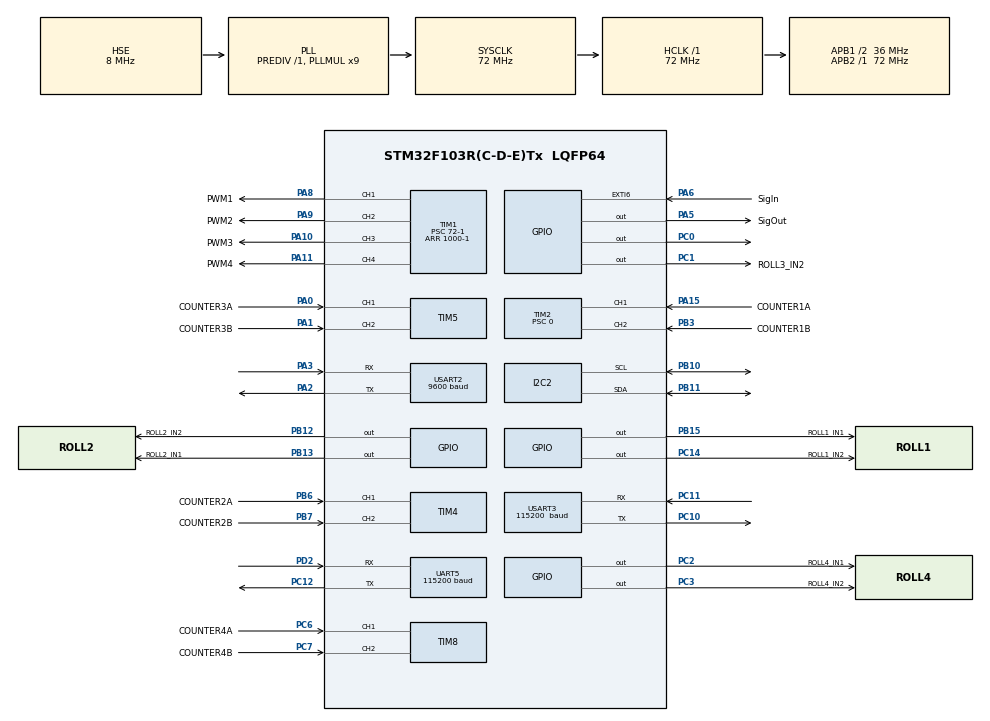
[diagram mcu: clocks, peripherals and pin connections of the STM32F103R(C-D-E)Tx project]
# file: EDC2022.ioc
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Dma.Request0=USART3_RX
Dma.Request1=USART3_TX
Dma.USART3_RX.0.Direction=DMA_PERIPH_TO_MEMORY
Dma.USART3_RX.0.Instance=DMA1_Channel3
Dma.USART3_RX.0.MemDataAlignment=DMA_MDATAALIGN_BYTE
Dma.USART3_RX.0.MemInc=DMA_MINC_ENABLE
Dma.USART3_RX.0.Mode=DMA_CIRCULAR
Dma.USART3_RX.0.PeriphDataAlignment=DMA_PDATAALIGN_BYTE
Dma.USART3_RX.0.PeriphInc=DMA_PINC_DISABLE
Dma.USART3_RX.0.Priority=DMA_PRIORITY_HIGH
Dma.USART3_TX.1.Direction=DMA_MEMORY_TO_PERIPH
Dma.USART3_TX.1.Instance=DMA1_Channel2
Dma.USART3_TX.1.MemDataAlignment=DMA_MDATAALIGN_BYTE
Dma.USART3_TX.1.MemInc=DMA_MINC_ENABLE
Dma.USART3_TX.1.Mode=DMA_NORMAL
Dma.USART3_TX.1.PeriphDataAlignment=DMA_PDATAALIGN_BYTE
Dma.USART3_TX.1.PeriphInc=DMA_PINC_DISABLE
Dma.USART3_TX.1.Priority=DMA_PRIORITY_HIGH
I2C2.I2C_Mode=I2C_Fast
Mcu.Family=STM32F1
Mcu.Name=STM32F103R(C-D-E)Tx
Mcu.Package=LQFP64
NVIC.DMA1_Channel2_IRQn=true\:0\:0\:false\:false\:true\:false\:true
NVIC.DMA1_Channel3_IRQn=true\:0\:0\:false\:false\:true\:false\:true
NVIC.EXTI9_5_IRQn=true\:0\:0\:false\:false\:true\:true\:true
NVIC.PriorityGroup=NVIC_PRIORITYGROUP_4
NVIC.TIM6_IRQn=true\:2\:0\:true\:false\:true\:true\:true
NVIC.UART5_IRQn=true\:0\:0\:false\:false\:true\:true\:true
NVIC.USART2_IRQn=true\:1\:0\:true\:false\:true\:true\:true
NVIC.USART3_IRQn=true\:0\:0\:false\:false\:true\:true\:true
PA0-WKUP.GPIO_Label=COUNTER3A
PA0-WKUP.Signal=S_TIM5_CH1
PA1.GPIO_Label=COUNTER3B
PA1.Signal=S_TIM5_CH2
PA10.GPIO_Label=PWM3
PA10.Signal=S_TIM1_CH3
PA11.GPIO_Label=PWM4
PA11.Signal=S_TIM1_CH4
PA13.Mode=Serial_Wire
PA13.Signal=SYS_JTMS-SWDIO
PA14.Mode=Serial_Wire
PA14.Signal=SYS_JTCK-SWCLK
PA15.GPIO_Label=COUNTER1A
PA15.Signal=S_TIM2_CH1_ETR
PA2.Mode=Asynchronous
PA2.Signal=USART2_TX
PA3.Mode=Asynchronous
PA3.Signal=USART2_RX
PA5.GPIO_Label=SigOut
PA5.GPIO_ModeDefaultOutputPP=GPIO_MODE_OUTPUT_OD
PA5.GPIO_PuPd=GPIO_PULLUP
PA5.PinState=GPIO_PIN_SET
PA5.Signal=GPIO_Output
PA6.GPIO_Label=SigIn
PA6.GPIO_ModeDefaultEXTI=GPIO_MODE_IT_FALLING
PA6.GPIO_PuPd=GPIO_PULLUP
PA6.Signal=GPXTI6
PA8.GPIO_Label=PWM1
PA8.Signal=S_TIM1_CH1
PA9.GPIO_Label=PWM2
PA9.Signal=S_TIM1_CH2
PB10.Mode=I2C
PB10.Signal=I2C2_SCL
PB11.Mode=I2C
PB11.Signal=I2C2_SDA
PB12.GPIO_Label=ROLL2_IN2
PB12.Signal=GPIO_Output
PB13.GPIO_Label=ROLL2_IN1
PB13.Signal=GPIO_Output
PB15.GPIO_Label=ROLL1_IN1
PB15.Signal=GPIO_Output
PB3.GPIO_Label=COUNTER1B
PB3.Signal=S_TIM2_CH2
PB6.GPIO_Label=COUNTER2A
PB6.Signal=S_TIM4_CH1
PB7.GPIO_Label=COUNTER2B
PB7.Signal=S_TIM4_CH2
PC0.Signal=GPIO_Output
PC1.GPIO_Label=ROLL3_IN2
PC1.Signal=GPIO_Output
PC10.Mode=Asynchronous
PC10.Signal=USART3_TX
PC11.Mode=Asynchronous
PC11.Signal=USART3_RX
PC12.Mode=Asynchronous
PC12.Signal=UART5_TX
PC14-OSC32_IN.GPIO_Label=ROLL1_IN2
PC14-OSC32_IN.Signal=GPIO_Output
PC2.GPIO_Label=ROLL4_IN1
PC2.Signal=GPIO_Output
PC3.GPIO_Label=ROLL4_IN2
PC3.Signal=GPIO_Output
PC6.GPIO_Label=COUNTER4A
PC6.Signal=S_TIM8_CH1
PC7.GPIO_Label=COUNTER4B
PC7.Signal=S_TIM8_CH2
PD0-OSC_IN.Mode=HSE-External-Oscillator
PD0-OSC_IN.Signal=RCC_OSC_IN
PD1-OSC_OUT.Mode=HSE-External-Oscillator
PD1-OSC_OUT.Signal=RCC_OSC_OUT
PD2.Mode=Asynchronous
PD2.Signal=UART5_RX
ProjectManager.HeapSize=0x200
ProjectManager.StackSize=0x400
ProjectManager.TargetToolchain=Makefile
RCC.AHBFreq_Value=72000000
RCC.APB1CLKDivider=RCC_HCLK_DIV2
RCC.APB1Freq_Value=36000000
RCC.APB1TimFreq_Value=72000000
RCC.APB2Freq_Value=72000000
RCC.APB2TimFreq_Value=72000000
RCC.HCLKFreq_Value=72000000
RCC.PLLMUL=RCC_PLL_MUL9
RCC.PLLSourceVirtual=RCC_PLLSOURCE_HSE
RCC.SYSCLKFreq_VALUE=72000000
RCC.SYSCLKSource=RCC_SYSCLKSOURCE_PLLCLK
RCC.USBFreq_Value=72000000
SH.S_TIM1_CH1.0=TIM1_CH1,PWM Generation1 CH1
SH.S_TIM1_CH2.0=TIM1_CH2,PWM Generation2 CH2
SH.S_TIM1_CH3.0=TIM1_CH3,PWM Generation3 CH3
SH.S_TIM1_CH4.0=TIM1_CH4,PWM Generation4 CH4
SH.S_TIM2_CH1_ETR.0=TIM2_CH1,Encoder_Interface
SH.S_TIM2_CH2.0=TIM2_CH2,Encoder_Interface
SH.S_TIM4_CH1.0=TIM4_CH1,Encoder_Interface
SH.S_TIM4_CH2.0=TIM4_CH2,Encoder_Interface
SH.S_TIM5_CH1.0=TIM5_CH1,Encoder_Interface
SH.S_TIM5_CH2.0=TIM5_CH2,Encoder_Interface
SH.S_TIM8_CH1.0=TIM8_CH1,Encoder_Interface
SH.S_TIM8_CH2.0=TIM8_CH2,Encoder_Interface
TIM1.Channel-PWM\ Generation1\ CH1=TIM_CHANNEL_1
TIM1.Channel-PWM\ Generation2\ CH2=TIM_CHANNEL_2
TIM1.Channel-PWM\ Generation3\ CH3=TIM_CHANNEL_3
TIM1.Channel-PWM\ Generation4\ CH4=TIM_CHANNEL_4
TIM1.OCFastMode_PWM-PWM\ Generation1\ CH1=TIM_OCFAST_ENABLE
TIM1.OCFastMode_PWM-PWM\ Generation2\ CH2=TIM_OCFAST_ENABLE
TIM1.OCFastMode_PWM-PWM\ Generation3\ CH3=TIM_OCFAST_ENABLE
TIM1.OCFastMode_PWM-PWM\ Generation4\ CH4=TIM_OCFAST_ENABLE
TIM1.Period=1000-1
TIM1.Prescaler=72-1
TIM2.EncoderMode=TIM_ENCODERMODE_TI12
TIM2.Period=65535
TIM2.Prescaler=0
TIM4.EncoderMode=TIM_ENCODERMODE_TI12
TIM5.EncoderMode=TIM_ENCODERMODE_TI12
TIM6.Period=50000-1
TIM6.Prescaler=72-1
TIM8.EncoderMode=TIM_ENCODERMODE_TI12
UART5.BaudRate=115200
UART5.VirtualMode=Asynchronous
USART2.BaudRate=9600
USART2.VirtualMode=VM_ASYNC
USART3.BaudRate=115200 
USART3.VirtualMode=VM_ASYNC
VP_TIM1_VS_ClockSourceINT.Mode=Internal
VP_TIM6_VS_ClockSourceINT.Mode=Enable_Timer
board=custom

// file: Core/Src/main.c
/* USER CODE BEGIN Header */
/**
  ******************************************************************************
  * @file           : main.c
  * @brief          : Main program body
  ******************************************************************************
  * @attention
  *
  * <h2><center>&copy; Copyright (c) 2022 STMicroelectronics.
  * All rights reserved.</center></h2>
  *
  * This software component is licensed by ST under BSD 3-Clause license,
  * the "License"; You may not use this file except in compliance with the
  * License. You may obtain a copy of the License at:
  *                        opensource.org/licenses/BSD-3-Clause
  *
  ******************************************************************************
  */
/* USER CODE END Header */
#include "main.h"
#include "dma.h"
#include "i2c.h"
#include "tim.h"
#include "usart.h"
#include "gpio.h"

/* USER CODE BEGIN Includes */
#include "API.h"
#include "system.h"
#include "jy62.h"
#include "move.h"
#include "qmc5883.h"
#include "delay.h"
#include "zigbee_edc24.h"
#include "dijkstra.h"
/* USER CODE END Includes */

/* USER CODE BEGIN PV */
uint8_t rxData[JY_BUF_SIZE << 1];                     // Rx buffer for JY62
uint8_t zigbeetest[20];
extern int WheelCounts[4];
extern WheelPidVars WheelPid[4];
extern PidParms WheelPidParms;
extern PidParms YawPidParms;
extern StateInfo AxisData;
struct JY62_Mes JY62;
struct JY62_Data jy62data;
/* USER CODE END PV */

void SystemClock_Config(void);

/* USER CODE BEGIN 0 */
void JY_handler(uint8_t *);
void Accdecode(uint8_t *rx);
void Velodecode(uint8_t *rx);
void Angledecode(uint8_t *rx);
/* USER CODE END 0 */

int main(void)
{

  /* MCU Configuration--------------------------------------------------------*/

  /* Reset of all peripherals, Initializes the Flash interface and the Systick. */
  HAL_Init();

  /* Configure the system clock */
  SystemClock_Config();

  /* Initialize all configured peripherals */
  MX_GPIO_Init();
  MX_DMA_Init();
  MX_TIM1_Init();
  MX_TIM2_Init();
  MX_TIM5_Init();
  MX_TIM6_Init();
  MX_TIM8_Init();
  MX_USART2_UART_Init();
  MX_USART3_UART_Init();
  MX_I2C2_Init();
  MX_TIM4_Init();
  MX_UART5_Init();
  /* USER CODE BEGIN 2 */
  HAL_TIM_Base_Start(&htim1);
  HAL_TIM_Base_Start_IT(&htim6);
  HAL_TIM_Encoder_Start(&htim2, TIM_CHANNEL_1);
  HAL_TIM_Encoder_Start(&htim2, TIM_CHANNEL_2);
  HAL_TIM_Encoder_Start(&htim4, TIM_CHANNEL_1);
  HAL_TIM_Encoder_Start(&htim4, TIM_CHANNEL_2);
  HAL_TIM_Encoder_Start(&htim5, TIM_CHANNEL_1);
  HAL_TIM_Encoder_Start(&htim5, TIM_CHANNEL_2);
  HAL_TIM_Encoder_Start(&htim8, TIM_CHANNEL_1);
  HAL_TIM_Encoder_Start(&htim8, TIM_CHANNEL_2);
  HAL_TIM_PWM_Start(&htim1, TIM_CHANNEL_1);
  HAL_TIM_PWM_Start(&htim1, TIM_CHANNEL_2);
  HAL_TIM_PWM_Start(&htim1, TIM_CHANNEL_3);
  HAL_TIM_PWM_Start(&htim1, TIM_CHANNEL_4);
  delay_init();
  HAL_UART_Receive_DMA(&huart3, rxData, JY_BUF_SIZE << 1);
  HAL_UART_Receive_IT(&huart5,zigbeetest,20);
  delay_ms(2000);

  jy62_Init(&huart3);     //uart3作为和加速度计�?�信的串�???????????
  InitPid();
  WheelPidParms.kp = 1.2;
  WheelPidParms.kd = 3.8;
  WheelPidParms.ki = 1;
  YawPidParms.kp = -0.5;
  YawPidParms.kd = 0;
  YawPidParms.ki = 0;
  HAL_UART_Receive_IT(&huart2,Message,16);
  SetBaud(115200);
  SetHorizontal();
  InitAngle();
  Calibrate();
  //SleepOrAwake();
  QMC5883_InitConfig();
  zigbee_Init(&huart3);

  /* USER CODE END 2 */

  /* Infinite loop */
  /* USER CODE BEGIN WHILE */
  delay_ms(2000);
  MoveByAbs(50, 90);
  while (1)
  {
    /* USER CODE END WHILE */

    /* USER CODE BEGIN 3 */
    reqGameInfo();
    delay_ms(2000);
    Order_edc24 food=getLatestPendingOrder();
    Position_edc24 pos=getVehiclePos();
    //jy62_Init(&huart3);
    //delay_ms(10);
    //Barrier_edc24 b=getOneBarrier(0);
    //u2_printf("sb");
    //u2_printf("yaw:%6f    roll:%6f    pitch:%6f\r\n",jy62data.yaw,jy62data.roll,jy62data.pitch);
    //Barrier_edc24 pos=getOneBarrier(0);
    //u2_printf("%d",pos.pos_1.x);
    delay_ms(1000);
    //float asdfg[3];
    //dijkstra();
    //QMC5883_GetData(asdfg);
    u2_printf("%s\r\n",zigbeetest);
    //QMC5883_InitConfig();
  }
  /* USER CODE END 3 */
}

void SystemClock_Config(void)
{
  RCC_OscInitTypeDef RCC_OscInitStruct = {0};
  RCC_ClkInitTypeDef RCC_ClkInitStruct = {0};

  /** Initializes the RCC Oscillators according to the specified parameters
  * in the RCC_OscInitTypeDef structure.
  */
  RCC_OscInitStruct.OscillatorType = RCC_OSCILLATORTYPE_HSE;
  RCC_OscInitStruct.HSEState = RCC_HSE_ON;
  RCC_OscInitStruct.HSEPredivValue = RCC_HSE_PREDIV_DIV1;
  RCC_OscInitStruct.HSIState = RCC_HSI_ON;
  RCC_OscInitStruct.PLL.PLLState = RCC_PLL_ON;
  RCC_OscInitStruct.PLL.PLLSource = RCC_PLLSOURCE_HSE;
  RCC_OscInitStruct.PLL.PLLMUL = RCC_PLL_MUL9;
  if (HAL_RCC_OscConfig(&RCC_OscInitStruct) != HAL_OK)
  {
    Error_Handler();
  }
  /** Initializes the CPU, AHB and APB buses clocks
  */
  RCC_ClkInitStruct.ClockType = RCC_CLOCKTYPE_HCLK|RCC_CLOCKTYPE_SYSCLK
                              |RCC_CLOCKTYPE_PCLK1|RCC_CLOCKTYPE_PCLK2;
  RCC_ClkInitStruct.SYSCLKSource = RCC_SYSCLKSOURCE_PLLCLK;
  RCC_ClkInitStruct.AHBCLKDivider = RCC_SYSCLK_DIV1;
  RCC_ClkInitStruct.APB1CLKDivider = RCC_HCLK_DIV2;
  RCC_ClkInitStruct.APB2CLKDivider = RCC_HCLK_DIV1;

  if (HAL_RCC_ClockConfig(&RCC_ClkInitStruct, FLASH_LATENCY_2) != HAL_OK)
  {
    Error_Handler();
  }
}

/* USER CODE BEGIN 4 */
void HAL_TIM_PeriodElapsedCallback(TIM_HandleTypeDef *htim){
  if(htim->Instance == TIM6)
  {

    WheelCounts[0] = __HAL_TIM_GET_COUNTER(&htim2);
    WheelCounts[1] = __HAL_TIM_GET_COUNTER(&htim4);
    WheelCounts[2] = __HAL_TIM_GET_COUNTER(&htim5);
    WheelCounts[3] = __HAL_TIM_GET_COUNTER(&htim8);
    __HAL_TIM_SET_COUNTER(&htim2, 0);
    __HAL_TIM_SET_COUNTER(&htim4, 0);
    __HAL_TIM_SET_COUNTER(&htim5, 0);
    __HAL_TIM_SET_COUNTER(&htim8, 0);

    SetStateInfo(jy62data.accx, jy62data.accy, jy62data.accz, jy62data.velox, jy62data.veloy, jy62data.veloz, jy62data.pitch, jy62data.yaw, jy62data.roll);
    YawPidCalculate();
    WheelPidCalculate();

    if (WheelPid[0].pwm >= 0)
    {
      PBout(15) = 1;
      PCout(14) = 0;
    }
    else
    {
      PBout(15) = 0;
      PCout(14) = 1;
      WheelPid[0].pwm = -WheelPid[0].pwm;
    }
    __HAL_TIM_SetCompare(&htim1, TIM_CHANNEL_1, WheelPid[0].pwm);
    if (WheelPid[1].pwm >= 0)
    {
      PBout(13) = 1;
      PBout(12) = 0;
    }
    else
    {
      PBout(13) = 0;
      PBout(12) = 1;
      WheelPid[1].pwm = -WheelPid[1].pwm;
    }
    __HAL_TIM_SetCompare(&htim1, TIM_CHANNEL_2, WheelPid[1].pwm);
    if (WheelPid[2].pwm >= 0)
    {
      PCout(0) = 1;
      PCout(1) = 0;
    }
    else
    {
      PCout(0) = 0;
      PCout(1) = 1;
      WheelPid[2].pwm = -WheelPid[2].pwm;
    }
    __HAL_TIM_SetCompare(&htim1, TIM_CHANNEL_3, WheelPid[2].pwm);
    if (WheelPid[3].pwm >= 0)
    {
      PCout(2) = 1;
      PCout(3) = 0;
    }
    else
    {
      PCout(2) = 0;
      PCout(3) = 1;
      WheelPid[3].pwm = -WheelPid[3].pwm;
    }
    __HAL_TIM_SetCompare(&htim1, TIM_CHANNEL_4, WheelPid[3].pwm);
  }
}

void HAL_GPIO_EXTI_Callback(uint16_t GPIO_Pin)
{
  if (GPIO_Pin == SigIn_Pin)
  {
    PAout(5) = 1;
  }
}

void JY_handler(uint8_t *rx) {
  Angledecode(rx);
  Velodecode(rx);
  Accdecode(rx);
}

void Accdecode(uint8_t *rx){   //加�?�度解码
  static uint8_t sum = SUMACC, p = 0;
  uint8_t rxi;
  for (uint8_t i = 0; i < JY_BUF_SIZE; ++i) {
    rxi = rx[i];
    switch (p) {
      case 0:
        p = rxi == 0x55u ? 1 : 0;
        break;
      case 1:
        p = rxi == 0x51u ? 2 : 0;
        break;
      case 6:
      case 7:
        JY62.accz[p - 6] = rxi;
        sum += rxi;
        ++p;
        break;
      case 2:
      case 3:
        JY62.accx[p-2]=rxi;
        sum += rxi;
        ++p;
        break;
      case 4:
      case 5:
        JY62.accy[p-4]=rxi;
        sum += rxi;
        ++p;
        break;
      case 8:
      case 9:
        JY62.temperature[p-8]=rxi;
        sum += rxi;
        ++p;
        break;
      case 10:
        if (rxi == sum) {
          jy62data.accxRaw=calAcc(JY62.accx[0],JY62.accx[1]);
          jy62data.accyRaw=calAcc(JY62.accy[0],JY62.accy[1]);
          jy62data.acczRaw=calAcc(JY62.accz[0],JY62.accz[1]);
          //处理数据
          p=0;
          sum=SUMACC;
          return;
        }
        else {
          i = i >= 9 ? i - 9 : 0;
        }
        // no break
      default:
        p = 0;
        sum = SUMACC;
    }
  }
}

void Velodecode(uint8_t *rx){    //角�?�度解码
  static uint8_t sum = SUMVELO, p = 0;
  uint8_t rxi;
  for (uint8_t i = 0; i < JY_BUF_SIZE; ++i) {
    rxi = rx[i];
    switch (p) {
      case 0:
        p = rxi == 0x55u ? 1 : 0;
        break;
      case 1:
        p = rxi == 0x52u ? 2 : 0;
        break;
      case 6:
      case 7:
        JY62.veloz[p - 6] = rxi;
        sum += rxi;
        ++p;
        break;
      case 2:
      case 3:
        JY62.velox[p - 2] = rxi;
        sum += rxi;
        ++p;
        break;
      case 4:
      case 5:
        JY62.veloy[p - 4] = rxi;
        sum += rxi;
        ++p;
        break;
      case 8:
      case 9:
        JY62.temperature[p - 8]=rxi;
        sum += rxi;
        ++p;
        break;
      case 10:
        if (rxi == sum) {
          jy62data.veloxRaw=calVelox(JY62.velox[0],JY62.velox[1]);
          jy62data.veloyRaw=calVelox(JY62.veloy[0],JY62.veloy[1]);
          jy62data.velozRaw=calVelox(JY62.veloz[0],JY62.veloz[1]);
          //处理数据
          p=0;
          sum=SUMVELO;
          return;
        }
        else {
          i = i >= 9 ? i - 9 : 0;
        }
        // no break
      default:
        p = 0;
        sum = SUMVELO;
    }
  }
}

void Angledecode(uint8_t *rx){
  static uint8_t sum = SUMANGLE, p = 0;
  uint8_t rxi;
  for (uint8_t i = 0; i < JY_BUF_SIZE; ++i) {
    rxi = rx[i];
    switch (p) {
      case 0:
        p = rxi == 0x55u ? 1 : 0;
        break;
      case 1:
        p = rxi == 0x53u ? 2 : 0;
        break;
      case 6:
      case 7:
        JY62.angleyaw[p - 6] = rxi;
        sum += rxi;
        ++p;
        break;
      case 2:
      case 3:
        JY62.angleroll[p-2] = rxi;
        sum += rxi;
        ++p;
        break;
      case 4:
      case 5:
        JY62.anglepitch[p-4]=rxi;
        sum += rxi;
        ++p;
        break;
      case 8:
      case 9:
        JY62.temperature[p-8]=rxi;
        sum += rxi;
        ++p;
        break;
      case 10:
        if (rxi == sum) {
          float z = calcAngle(JY62.angleyaw[0], JY62.angleyaw[1]);
          float x = calcAngle(JY62.angleroll[0],JY62.angleroll[1]);
          float y = calcAngle(JY62.anglepitch[0],JY62.anglepitch[1]);

          float nextYawBias = jy62data.yawBias;
          float nextRollBias = jy62data.rollBias;
          float nextPitchBias = jy62data.pitchBias;
          if (z > jy62data.yawRaw + 180) {
            nextYawBias -= 360;
          }
          else if (z < jy62data.yawRaw - 180) {
            nextYawBias += 360;
          }
          if (y > jy62data.pitchRaw + 180) {
            nextPitchBias -= 360;
          }
          else if (y < jy62data.pitchRaw - 180) {
            nextPitchBias += 360;
          }
          if (x > jy62data.rollRaw + 180) {
            nextRollBias -= 360;
          }
          else if (x < jy62data.rollRaw - 180) {
            nextRollBias += 360;
          }
          jy62data.yawRaw = z;
          jy62data.pitchRaw=y;
          jy62data.rollRaw=x;
          float nextYaw = jy62data.yawRaw + nextYawBias - jy62data.yawZero;
          float nextRoll = jy62data.rollRaw + nextRollBias - jy62data.rollZero;
          float nextPitch = jy62data.pitchRaw + nextPitchBias - jy62data.pitchZero;
          if (abs(jy62data.yaw - nextYaw) < 180) {
            jy62data.yaw = nextYaw;
            jy62data.yawBias = nextYawBias;
          }
          if (abs(jy62data.pitch - nextPitch) < 180) {
            jy62data.pitch = nextPitch;
            jy62data.pitchBias = nextPitchBias;
          }
          if (abs(jy62data.roll - nextRoll) < 180) {
            jy62data.roll = nextRoll;
            jy62data.rollBias = nextRollBias;
          }
          p = 0;
          sum = SUMANGLE;
          return;
        }
        else {
          i = i >= 9 ? i - 9 : 0;
        }
        // no break
      default:
        p = 0;
        sum = SUMANGLE;
    }
  }
}
/* USER CODE END 4 */

void Error_Handler(void)
{
}

/************************ (C) COPYRIGHT STMicroelectronics *****END OF FILE****/
